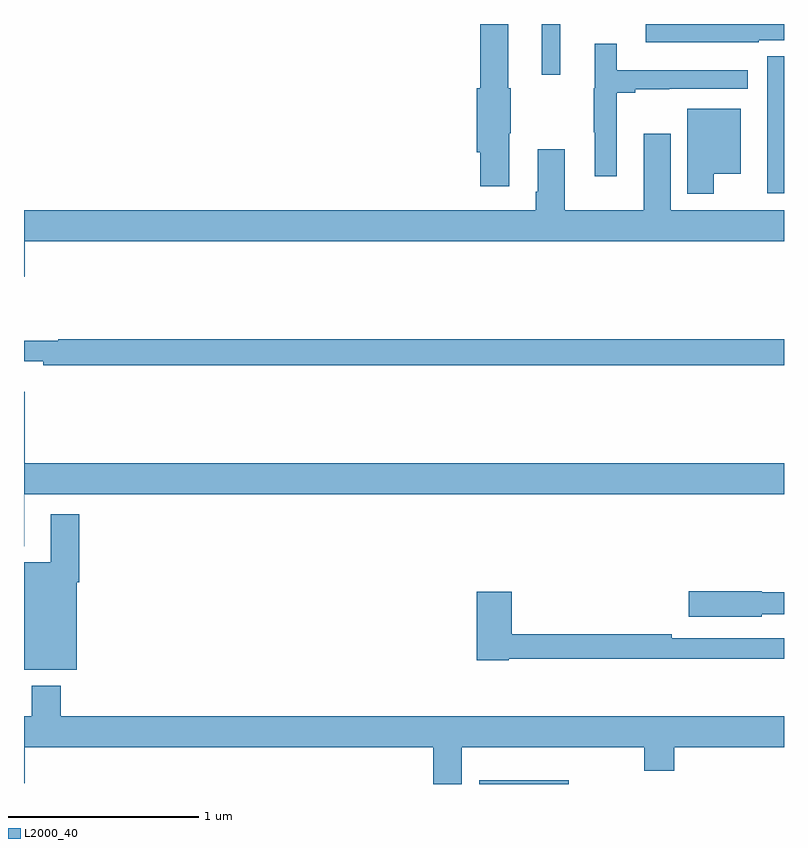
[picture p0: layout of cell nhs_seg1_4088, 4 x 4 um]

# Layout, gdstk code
import gdstk
lib = gdstk.Library(unit=1e-6, precision=1e-09)
def R(c, l, rs):  # rectangles x0, y0, x1, y1
    for r in rs: c.add(gdstk.rectangle(r[:2], r[2:], *l))
def P(c, l, *ps):  # polygons
    for p in ps: c.add(gdstk.Polygon(p, *l))
L2000_40 = (2000, 40)

nhs_seg1_4088 = lib.new_cell('nhs_seg1_4088')
R(nhs_seg1_4088, L2000_40, [(335.396,558.199,335.866,558.22), (335.726,561.933,335.823,562.199)])
P(nhs_seg1_4088, L2000_40, [(336.867,562.113),(337,562.113),(337,562.199),(335.908,562.199),(335.908,562.197),(336.272,562.197),(336.272,562.103),(336.867,562.103)],
  [(335.554,561.625),(335.562,561.625),(335.562,561.861),(335.548,561.861),(335.548,562.199),(335.402,562.199),(335.402,561.861),(335.384,561.861),(335.384,561.525),(335.402,561.525),(335.402,561.345),(335.554,561.345)],
  [(336.121,561.838),(336.217,561.838),(336.217,561.856),(336.395,561.856),(336.395,561.858),(336.808,561.858),(336.808,561.955),(336.121,561.955),(336.121,562.096),(336.005,562.096),(336.005,561.861),(335.998,561.861),(335.998,561.628),(336.005,561.628),(336.005,561.399),(336.121,561.399)],
  [(337,562.028),(336.912,562.028),(336.912,561.75),(336.911,561.75),(336.911,561.308),(337,561.308)],
  [(336.631,561.41),(336.772,561.41),(336.772,561.754),(336.491,561.754),(336.491,561.305),(336.631,561.305)],
  [(333.004,561.056),(337,561.056),(337,561.22),(336.403,561.22),(336.403,561.622),(336.263,561.622),(336.263,561.22),(335.845,561.22),(335.845,561.541),(335.705,561.541),(335.705,561.316),(335.693,561.316),(335.693,561.22),(333,561.22),(333,560.868),(333.004,560.868)],
  [(337,560.54),(333.179,560.54),(333.179,560.533),(333,560.533),(333,560.423),(333.1,560.423),(333.1,560.404),(337,560.404)],
  [(333.001,559.724),(337,559.724),(337,559.888),(333.004,559.888),(333.004,560.263),(333,560.263),(333,559.451),(333.001,559.451)],
  [(333.277,559.262),(333.29,559.262),(333.29,559.618),(333.14,559.618),(333.14,559.366),(333,559.366),(333,558.8),(333.277,558.8)],
  [(336.882,559.092),(337,559.092),(337,559.208),(336.882,559.208),(336.882,559.214),(336.498,559.214),(336.498,559.079),(336.882,559.079)],
  [(335.55,558.858),(337,558.858),(337,558.966),(336.41,558.966),(336.41,558.986),(335.567,558.986),(335.567,559.21),(335.384,559.21),(335.384,558.85),(335.55,558.85)],
  [(335.305,558.392),(336.265,558.392),(336.265,558.268),(336.422,558.268),(336.422,558.392),(337,558.392),(337,558.556),(333.194,558.556),(333.194,558.715),(333.041,558.715),(333.041,558.556),(333,558.556),(333,558.204),(333.004,558.204),(333.004,558.392),(335.153,558.392),(335.153,558.199),(335.305,558.199)])

lib.write_gds('nhs_seg1_4088.gds')
